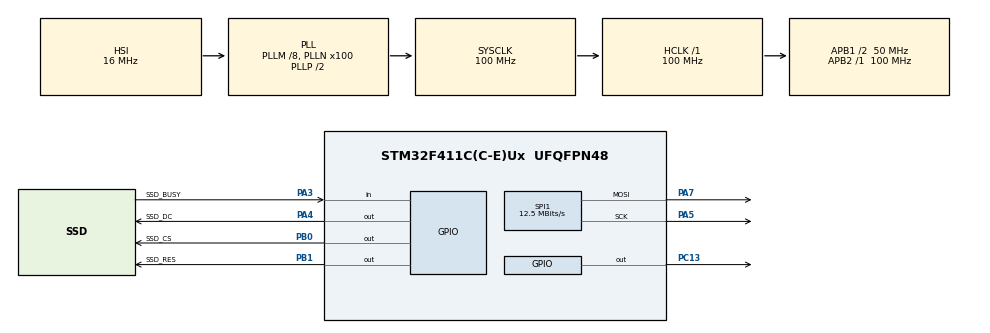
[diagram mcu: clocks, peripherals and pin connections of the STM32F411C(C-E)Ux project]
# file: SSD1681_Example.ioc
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Mcu.Family=STM32F4
Mcu.Name=STM32F411C(C-E)Ux
Mcu.Package=UFQFPN48
NVIC.PriorityGroup=NVIC_PRIORITYGROUP_4
PA13.Mode=Serial_Wire
PA13.Signal=SYS_JTMS-SWDIO
PA14.Mode=Serial_Wire
PA14.Signal=SYS_JTCK-SWCLK
PA3.GPIO_Label=SSD_BUSY
PA3.GPIO_PuPd=GPIO_PULLUP
PA3.Signal=GPIO_Input
PA4.GPIO_Label=SSD_DC
PA4.Signal=GPIO_Output
PA5.Mode=TX_Only_Simplex_Unidirect_Master
PA5.Signal=SPI1_SCK
PA7.Mode=TX_Only_Simplex_Unidirect_Master
PA7.Signal=SPI1_MOSI
PB0.GPIO_Label=SSD_CS
PB0.PinState=GPIO_PIN_SET
PB0.Signal=GPIO_Output
PB1.GPIO_Label=SSD_RES
PB1.PinState=GPIO_PIN_SET
PB1.Signal=GPIO_Output
PC13-ANTI_TAMP.PinState=GPIO_PIN_SET
PC13-ANTI_TAMP.Signal=GPIO_Output
PH0\ -\ OSC_IN.Mode=HSE-External-Oscillator
PH0\ -\ OSC_IN.Signal=RCC_OSC_IN
PH1\ -\ OSC_OUT.Mode=HSE-External-Oscillator
PH1\ -\ OSC_OUT.Signal=RCC_OSC_OUT
ProjectManager.HeapSize=0x200
ProjectManager.StackSize=0x400
ProjectManager.TargetToolchain=STM32CubeIDE
RCC.48MHZClocksFreq_Value=50000000
RCC.AHBFreq_Value=100000000
RCC.APB1CLKDivider=RCC_HCLK_DIV2
RCC.APB1Freq_Value=50000000
RCC.APB1TimFreq_Value=100000000
RCC.APB2Freq_Value=100000000
RCC.APB2TimFreq_Value=100000000
RCC.CortexFreq_Value=100000000
RCC.HCLKFreq_Value=100000000
RCC.HSE_VALUE=25000000
RCC.HSI_VALUE=16000000
RCC.LSE_VALUE=32768
RCC.PLLM=8
RCC.PLLN=100
RCC.SYSCLKFreq_VALUE=100000000
RCC.SYSCLKSource=RCC_SYSCLKSOURCE_PLLCLK
RCC.VCOOutputFreq_Value=200000000
SPI1.BaudRatePrescaler=SPI_BAUDRATEPRESCALER_8
SPI1.CalculateBaudRate=12.5 MBits/s
SPI1.Direction=SPI_DIRECTION_2LINES
SPI1.Mode=SPI_MODE_MASTER
SPI1.VirtualType=VM_MASTER
board=custom

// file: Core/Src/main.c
/* USER CODE BEGIN Header */
/**
  ******************************************************************************
  * @file           : main.c
  * @brief          : Main program body
  ******************************************************************************
  * @attention
  *
  * Copyright (c) 2026 STMicroelectronics.
  * All rights reserved.
  *
  * This software is licensed under terms that can be found in the LICENSE file
  * in the root directory of this software component.
  * If no LICENSE file comes with this software, it is provided AS-IS.
  *
  ******************************************************************************
  */
/* USER CODE END Header */
#include "main.h"

/* USER CODE BEGIN Includes */
#include "SSD1681.h"
#include <stdio.h>
/* USER CODE END Includes */

/* USER CODE BEGIN PM */
#define SSD_CHECK(x)  do { if ((x) != SSD1681_OK) { Error_Handler(); } } while (0)

/* USER CODE END PM */

SPI_HandleTypeDef hspi1;

/* USER CODE BEGIN PV */
SSD1681_Status_t status;
/* USER CODE END PV */

void SystemClock_Config(void);
static void MX_GPIO_Init(void);
static void MX_SPI1_Init(void);
/* USER CODE BEGIN PFP */
static void SSD1681_TestSuite(void);
static void SSD1681_TestFonts(void);
static void SSD1681_TestLineas(void);
static void SSD1681_TestRectangulos(void);
static void SSD1681_TestTriangulos(void);
static void SSD1681_TestCirculos(void);
static void SSD1681_TestElipses(void);
static void SSD1681_TestArc(void);
static void SSD1681_TestBitmap(void);
static void SSD1681_TestParcial(void);
/* USER CODE END PFP */

int main(void)
{

  /* MCU Configuration--------------------------------------------------------*/

  /* Reset of all peripherals, Initializes the Flash interface and the Systick. */
  HAL_Init();

  /* Configure the system clock */
  SystemClock_Config();

  /* Initialize all configured peripherals */
  MX_GPIO_Init();
  MX_SPI1_Init();
  /* USER CODE BEGIN 2 */
  status = SSD1681_Init(&hspi1,
		  	  	  	  	SSD_CS_GPIO_Port, SSD_CS_Pin,
						SSD_DC_GPIO_Port, SSD_DC_Pin,
						SSD_RES_GPIO_Port, SSD_RES_Pin,
						SSD_BUSY_GPIO_Port, SSD_BUSY_Pin,
						200, 200
						);
  if(status != SSD1681_OK)
  {
	  Error_Handler();
  }
  else
  {
	  HAL_GPIO_WritePin(GPIOC, GPIO_PIN_13, GPIO_PIN_RESET);
  }

  if(SSD1681_Clear() != SSD1681_OK)
  {
	  Error_Handler();
  }

  /* Una sola vez: el e-paper no debe refrescarse en bucle */
  SSD1681_TestSuite();
  /* USER CODE END 2 */

  /* Infinite loop */
  while (1)
  {

  }
}

void SystemClock_Config(void)
{
  RCC_OscInitTypeDef RCC_OscInitStruct = {0};
  RCC_ClkInitTypeDef RCC_ClkInitStruct = {0};

  /** Configure the main internal regulator output voltage
  */
  __HAL_RCC_PWR_CLK_ENABLE();
  __HAL_PWR_VOLTAGESCALING_CONFIG(PWR_REGULATOR_VOLTAGE_SCALE1);

  /** Initializes the RCC Oscillators according to the specified parameters
  * in the RCC_OscInitTypeDef structure.
  */
  RCC_OscInitStruct.OscillatorType = RCC_OSCILLATORTYPE_HSI;
  RCC_OscInitStruct.HSIState = RCC_HSI_ON;
  RCC_OscInitStruct.HSICalibrationValue = RCC_HSICALIBRATION_DEFAULT;
  RCC_OscInitStruct.PLL.PLLState = RCC_PLL_ON;
  RCC_OscInitStruct.PLL.PLLSource = RCC_PLLSOURCE_HSI;
  RCC_OscInitStruct.PLL.PLLM = 8;
  RCC_OscInitStruct.PLL.PLLN = 100;
  RCC_OscInitStruct.PLL.PLLP = RCC_PLLP_DIV2;
  RCC_OscInitStruct.PLL.PLLQ = 4;
  if (HAL_RCC_OscConfig(&RCC_OscInitStruct) != HAL_OK)
  {
    Error_Handler();
  }

  /** Initializes the CPU, AHB and APB buses clocks
  */
  RCC_ClkInitStruct.ClockType = RCC_CLOCKTYPE_HCLK|RCC_CLOCKTYPE_SYSCLK
                              |RCC_CLOCKTYPE_PCLK1|RCC_CLOCKTYPE_PCLK2;
  RCC_ClkInitStruct.SYSCLKSource = RCC_SYSCLKSOURCE_PLLCLK;
  RCC_ClkInitStruct.AHBCLKDivider = RCC_SYSCLK_DIV1;
  RCC_ClkInitStruct.APB1CLKDivider = RCC_HCLK_DIV2;
  RCC_ClkInitStruct.APB2CLKDivider = RCC_HCLK_DIV1;

  if (HAL_RCC_ClockConfig(&RCC_ClkInitStruct, FLASH_LATENCY_3) != HAL_OK)
  {
    Error_Handler();
  }
}

static void MX_SPI1_Init(void)
{

  /* SPI1 parameter configuration*/
  hspi1.Instance = SPI1;
  hspi1.Init.Mode = SPI_MODE_MASTER;
  hspi1.Init.Direction = SPI_DIRECTION_2LINES;
  hspi1.Init.DataSize = SPI_DATASIZE_8BIT;
  hspi1.Init.CLKPolarity = SPI_POLARITY_LOW;
  hspi1.Init.CLKPhase = SPI_PHASE_1EDGE;
  hspi1.Init.NSS = SPI_NSS_SOFT;
  hspi1.Init.BaudRatePrescaler = SPI_BAUDRATEPRESCALER_8;
  hspi1.Init.FirstBit = SPI_FIRSTBIT_MSB;
  hspi1.Init.TIMode = SPI_TIMODE_DISABLE;
  hspi1.Init.CRCCalculation = SPI_CRCCALCULATION_DISABLE;
  hspi1.Init.CRCPolynomial = 10;
  if (HAL_SPI_Init(&hspi1) != HAL_OK)
  {
    Error_Handler();
  }

}

static void MX_GPIO_Init(void)
{
  GPIO_InitTypeDef GPIO_InitStruct = {0};

  /* GPIO Ports Clock Enable */
  __HAL_RCC_GPIOC_CLK_ENABLE();
  __HAL_RCC_GPIOH_CLK_ENABLE();
  __HAL_RCC_GPIOA_CLK_ENABLE();
  __HAL_RCC_GPIOB_CLK_ENABLE();

  /*Configure GPIO pin Output Level */
  HAL_GPIO_WritePin(GPIOC, GPIO_PIN_13, GPIO_PIN_SET);

  /*Configure GPIO pin Output Level */
  HAL_GPIO_WritePin(SSD_DC_GPIO_Port, SSD_DC_Pin, GPIO_PIN_RESET);

  /*Configure GPIO pin Output Level */
  HAL_GPIO_WritePin(GPIOB, SSD_CS_Pin|SSD_RES_Pin, GPIO_PIN_SET);

  /*Configure GPIO pin : PC13 */
  GPIO_InitStruct.Pin = GPIO_PIN_13;
  GPIO_InitStruct.Mode = GPIO_MODE_OUTPUT_PP;
  GPIO_InitStruct.Pull = GPIO_NOPULL;
  GPIO_InitStruct.Speed = GPIO_SPEED_FREQ_LOW;
  HAL_GPIO_Init(GPIOC, &GPIO_InitStruct);

  /*Configure GPIO pin : SSD_BUSY_Pin */
  GPIO_InitStruct.Pin = SSD_BUSY_Pin;
  GPIO_InitStruct.Mode = GPIO_MODE_INPUT;
  GPIO_InitStruct.Pull = GPIO_PULLUP;
  HAL_GPIO_Init(SSD_BUSY_GPIO_Port, &GPIO_InitStruct);

  /*Configure GPIO pin : SSD_DC_Pin */
  GPIO_InitStruct.Pin = SSD_DC_Pin;
  GPIO_InitStruct.Mode = GPIO_MODE_OUTPUT_PP;
  GPIO_InitStruct.Pull = GPIO_NOPULL;
  GPIO_InitStruct.Speed = GPIO_SPEED_FREQ_LOW;
  HAL_GPIO_Init(SSD_DC_GPIO_Port, &GPIO_InitStruct);

  /*Configure GPIO pins : SSD_CS_Pin SSD_RES_Pin */
  GPIO_InitStruct.Pin = SSD_CS_Pin|SSD_RES_Pin;
  GPIO_InitStruct.Mode = GPIO_MODE_OUTPUT_PP;
  GPIO_InitStruct.Pull = GPIO_NOPULL;
  GPIO_InitStruct.Speed = GPIO_SPEED_FREQ_LOW;
  HAL_GPIO_Init(GPIOB, &GPIO_InitStruct);

}

/* USER CODE BEGIN 4 */

static void SSD1681_TestSuite(void)
{
	SSD1681_TestFonts();
	HAL_Delay(2000);

	SSD1681_TestLineas();
	HAL_Delay(2000);

	SSD1681_TestRectangulos();
	HAL_Delay(2000);

	SSD1681_TestTriangulos();
	HAL_Delay(2000);

	SSD1681_TestCirculos();
	HAL_Delay(2000);

	SSD1681_TestElipses();
	HAL_Delay(2000);

	SSD1681_TestArc();
	HAL_Delay(2000);

	SSD1681_TestBitmap();
	HAL_Delay(2000);

	SSD1681_TestParcial();

	/* El panel conserva la imagen sin energía: dormirlo al terminar */
	SSD_CHECK(SSD1681_Sleep());
}

static void SSD1681_TestFonts(void)
{
	/* -- Texto con distintas fuentes (16x26 cabe 12 caracteres en 200 px) -- */
	SSD_CHECK(SSD1681_Fill(SSD1681_COLOR_BLACK));
	SSD_CHECK(SSD1681_GotoXY(0, 0));
	SSD_CHECK(SSD1681_Puts("SSD1681 TEST", &Font_16x26, SSD1681_COLOR_WHITE));
	SSD_CHECK(SSD1681_GotoXY(0, 34));
	SSD_CHECK(SSD1681_Puts("Font 11x18", &Font_11x18, SSD1681_COLOR_WHITE));
	SSD_CHECK(SSD1681_GotoXY(0, 60));
	SSD_CHECK(SSD1681_Puts("Font 7x10", &Font_7x10, SSD1681_COLOR_WHITE));
	SSD_CHECK(SSD1681_GotoXY(0, 74));
	SSD_CHECK(SSD1681_Puts("ABCDEFGHIJKLMNOPQRSTUVWXYZ", &Font_7x10, SSD1681_COLOR_WHITE));
	SSD_CHECK(SSD1681_GotoXY(0, 86));
	SSD_CHECK(SSD1681_Puts("abcdefghijklmnopqrstuvwxyz", &Font_7x10, SSD1681_COLOR_WHITE));
	SSD_CHECK(SSD1681_GotoXY(0, 98));
	SSD_CHECK(SSD1681_Puts("0123456789 !?#$%&()*+-=", &Font_7x10, SSD1681_COLOR_WHITE));
	/* Última fila de la pantalla: verifica el borde inferior */
	SSD_CHECK(SSD1681_GotoXY(0, SSD1681_GetHeight() - Font_11x18.FontHeight));
	SSD_CHECK(SSD1681_Puts("Fin", &Font_11x18, SSD1681_COLOR_WHITE));
	SSD_CHECK(SSD1681_UpdateScreen());
}

static void SSD1681_TestLineas(void)
{
	const uint16_t w = SSD1681_GetWidth();
	const uint16_t h = SSD1681_GetHeight();

	/* -- Lineas: marco, diagonales y ejes centrales -- */
	SSD_CHECK(SSD1681_Fill(SSD1681_COLOR_BLACK));
	SSD_CHECK(SSD1681_DrawRectangle(0, 0, w - 1, h - 1, SSD1681_COLOR_WHITE));
	SSD_CHECK(SSD1681_DrawLine(0, 0, w - 1, h - 1, SSD1681_COLOR_WHITE));
	SSD_CHECK(SSD1681_DrawLine(0, h - 1, w - 1, 0, SSD1681_COLOR_WHITE));
	SSD_CHECK(SSD1681_DrawFastHLine(0, h / 2, w, SSD1681_COLOR_WHITE));
	SSD_CHECK(SSD1681_DrawFastVLine(w / 2, 0, h, SSD1681_COLOR_WHITE));
	SSD_CHECK(SSD1681_UpdateScreen());
}

static void SSD1681_TestRectangulos(void)
{
	const uint16_t w = SSD1681_GetWidth();
	const uint16_t h = SSD1681_GetHeight();

	/* -- Rectangulos: contorno a la izquierda (esquinas), relleno a la derecha (ancho/alto) -- */
	SSD_CHECK(SSD1681_Fill(SSD1681_COLOR_BLACK));
	SSD_CHECK(SSD1681_DrawRectangle(0, 0, w / 2 - 5, h - 1, SSD1681_COLOR_WHITE));
	SSD_CHECK(SSD1681_DrawFilledRectangle(w / 2 + 4, 0, w / 2 - 4, h, SSD1681_COLOR_WHITE));
	SSD_CHECK(SSD1681_UpdateScreen());
}

static void SSD1681_TestTriangulos(void)
{
	const uint16_t w = SSD1681_GetWidth();
	const uint16_t h = SSD1681_GetHeight();

	/* -- Triangulos: contorno a la izquierda, relleno a la derecha (vértices en los bordes) -- */
	SSD_CHECK(SSD1681_Fill(SSD1681_COLOR_BLACK));
	SSD_CHECK(SSD1681_DrawTriangle(w / 4, 0, 0, h - 1, w / 2 - 5, h - 1, SSD1681_COLOR_WHITE));
	SSD_CHECK(SSD1681_DrawFilledTriangle(w / 2 + 4, 0, w - 1, 0, 3 * w / 4, h - 1, SSD1681_COLOR_WHITE));
	SSD_CHECK(SSD1681_UpdateScreen());
}

static void SSD1681_TestCirculos(void)
{
	const uint16_t w = SSD1681_GetWidth();
	const uint16_t h = SSD1681_GetHeight();

	const int16_t  r = w / 4 - 3;

	/* -- Circulos: contorno a la izquierda (toca el borde izq.), relleno a la derecha (toca el borde der.) -- */
	SSD_CHECK(SSD1681_Fill(SSD1681_COLOR_BLACK));
	SSD_CHECK(SSD1681_DrawCircle(r, h / 2, r, SSD1681_COLOR_WHITE));
	SSD_CHECK(SSD1681_DrawFilledCircle(w - 1 - r, h / 2, r, SSD1681_COLOR_WHITE));
	SSD_CHECK(SSD1681_UpdateScreen());
}

static void SSD1681_TestElipses(void)
{
	const uint16_t w = SSD1681_GetWidth();
	const uint16_t h = SSD1681_GetHeight();

	const int16_t  rx = w / 4 - 3;
	const int16_t  ry = h / 2 - 1;

	/* -- Elipses: contorno a la izquierda, relleno a la derecha (tocan bordes laterales, superior e inferior) -- */
	SSD_CHECK(SSD1681_Fill(SSD1681_COLOR_BLACK));
	SSD_CHECK(SSD1681_DrawEllipse(rx, h / 2, rx, ry, SSD1681_COLOR_WHITE));
	SSD_CHECK(SSD1681_DrawFilledEllipse(w - 1 - rx, h / 2, rx, ry, SSD1681_COLOR_WHITE));
	SSD_CHECK(SSD1681_UpdateScreen());
}

static void SSD1681_TestArc(void)
{
	const uint16_t w = SSD1681_GetWidth();
	const uint16_t h = SSD1681_GetHeight();

	const int16_t  r1 = w / 4 - 3;
	const int16_t  r2 = r1 / 2;

	/* -- Arcos: contorno a la izquierda (toca el borde izq.), relleno a la derecha (toca el borde der.) -- */
	SSD_CHECK(SSD1681_Fill(SSD1681_COLOR_BLACK));
	SSD_CHECK(SSD1681_DrawArc(r1, h / 2, r1, r2, 0.0f, 270.0f, SSD1681_COLOR_WHITE));
	SSD_CHECK(SSD1681_DrawFilledArc(w - 1 - r1, h / 2, r1, r2, 0.0f, 270.0f, SSD1681_COLOR_WHITE));
	SSD_CHECK(SSD1681_UpdateScreen());
}

static void SSD1681_TestBitmap(void)
{
	const uint16_t w = SSD1681_GetWidth();
	const uint16_t h = SSD1681_GetHeight();

	/* "F" de 12x12: asimétrica para detectar espejos/rotaciones. Ancho no múltiplo
	 * de 8 -> 2 bytes por fila; los 4 bits de relleno (0x0F) van en 1 a propósito:
	 * si aparecen columnas extra a la derecha de la F, el relleno no se ignora. */
	static const uint8_t bmpF[] = {
		0xFF, 0xFF,
		0xFF, 0xFF,
		0xC0, 0x0F,
		0xC0, 0x0F,
		0xFF, 0x0F,
		0xFF, 0x0F,
		0xC0, 0x0F,
		0xC0, 0x0F,
		0xC0, 0x0F,
		0xC0, 0x0F,
		0xC0, 0x0F,
		0xC0, 0x0F,
	};
	const int16_t bw = 12;
	const int16_t bh = 12;

	/* -- Parámetro inválido: NULL debe rechazarse -- */
	if (SSD1681_DrawBitmap(0, 0, NULL, bw, bh, SSD1681_COLOR_BLACK) != SSD1681_INVALID_PARAM)
	{
		Error_Handler();
	}

	/* -- Bitmaps: negro sobre blanco en las 4 esquinas (tocan los bordes) -- */
	SSD_CHECK(SSD1681_Fill(SSD1681_COLOR_WHITE));
	SSD_CHECK(SSD1681_DrawBitmap(0, 0, bmpF, bw, bh, SSD1681_COLOR_BLACK));
	SSD_CHECK(SSD1681_DrawBitmap(w - bw, 0, bmpF, bw, bh, SSD1681_COLOR_BLACK));
	SSD_CHECK(SSD1681_DrawBitmap(0, h - bh, bmpF, bw, bh, SSD1681_COLOR_BLACK));
	SSD_CHECK(SSD1681_DrawBitmap(w - bw, h - bh, bmpF, bw, bh, SSD1681_COLOR_BLACK));

	/* -- Recorte: a medio salir por izquierda, arriba, derecha y abajo (sin error) -- */
	SSD_CHECK(SSD1681_DrawBitmap(-bw / 2, h / 2, bmpF, bw, bh, SSD1681_COLOR_BLACK));
	SSD_CHECK(SSD1681_DrawBitmap(w / 2, -bh / 2, bmpF, bw, bh, SSD1681_COLOR_BLACK));
	SSD_CHECK(SSD1681_DrawBitmap(w - bw / 2, h / 2, bmpF, bw, bh, SSD1681_COLOR_BLACK));
	SSD_CHECK(SSD1681_DrawBitmap(w / 2, h - bh / 2, bmpF, bw, bh, SSD1681_COLOR_BLACK));

	/* -- Color: blanco sobre un recuadro negro en el centro (los bits en 0 no pintan) -- */
	SSD_CHECK(SSD1681_DrawFilledRectangle(w / 2 - bw, h / 2 - bh, 2 * bw, 2 * bh, SSD1681_COLOR_BLACK));
	SSD_CHECK(SSD1681_DrawBitmap(w / 2 - bw / 2, h / 2 - bh / 2, bmpF, bw, bh, SSD1681_COLOR_WHITE));
	SSD_CHECK(SSD1681_UpdateScreen());
}

static void SSD1681_TestParcial(void)
{
	char texto[16];

	/* -- Refresco parcial: contador sin parpadeo (la 1a llamada hace un refresco completo) -- */
	SSD_CHECK(SSD1681_Fill(SSD1681_COLOR_WHITE));
	SSD_CHECK(SSD1681_GotoXY(0, 0));
	SSD_CHECK(SSD1681_Puts("Parcial", &Font_16x26, SSD1681_COLOR_BLACK));

	for (uint8_t i = 0; i <= 9; i++)
	{
		snprintf(texto, sizeof(texto), "Cuenta: %u", i);
		SSD_CHECK(SSD1681_DrawFilledRectangle(0, 40, SSD1681_GetWidth(), Font_11x18.FontHeight, SSD1681_COLOR_WHITE));
		SSD_CHECK(SSD1681_GotoXY(0, 40));
		SSD_CHECK(SSD1681_Puts(texto, &Font_11x18, SSD1681_COLOR_BLACK));
		SSD_CHECK(SSD1681_UpdateScreenPartial());
		HAL_Delay(500);
	}
}
/* USER CODE END 4 */

/**z
  * @brief  This function is executed in case of error occurrence.
  * @retval None
  */
void Error_Handler(void)
{
  /* USER CODE BEGIN Error_Handler_Debug */
  /* User can add his own implementation to report the HAL error return state */
  while (1)
  {
	  HAL_GPIO_TogglePin(GPIOC, GPIO_PIN_13);
	  HAL_Delay(200);
  }
  /* USER CODE END Error_Handler_Debug */
}
